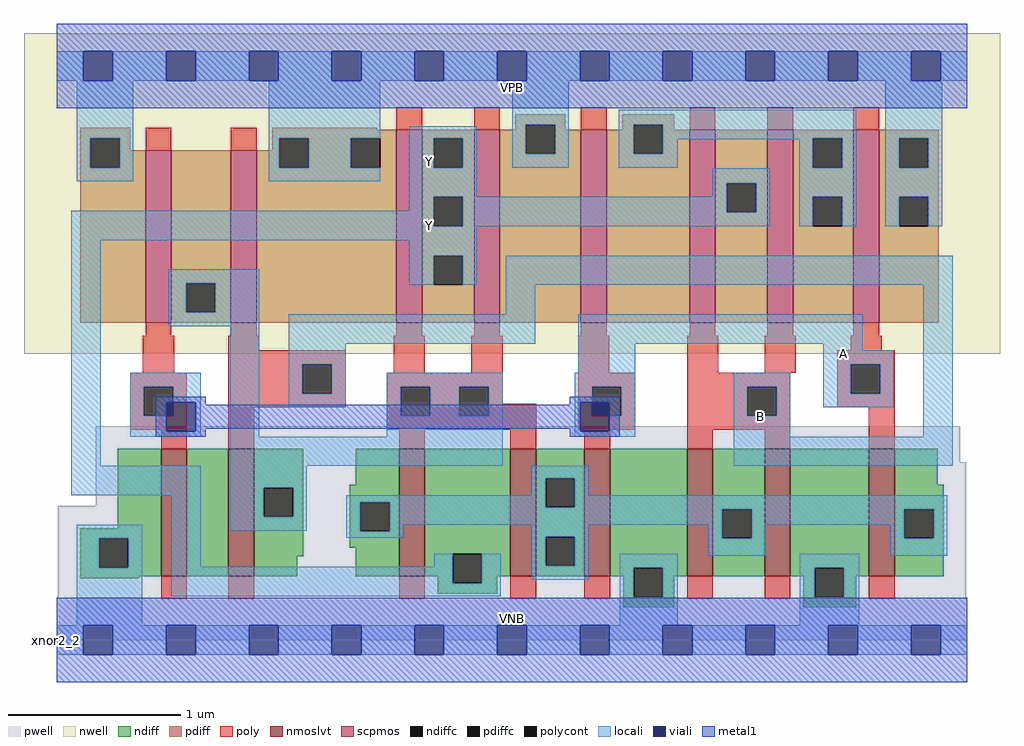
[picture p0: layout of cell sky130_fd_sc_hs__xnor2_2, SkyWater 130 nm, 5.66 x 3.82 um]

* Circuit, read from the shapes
.subckt sky130_fd_sc_hs__xnor2_2 A B VGND VNB VPB VPWR Y
XM1 n1 A VGND VNB sky130_fd_pr__nfet_01v8_lvt w=0.74 l=0.15
XM2 n2 B n1 VNB sky130_fd_pr__nfet_01v8_lvt w=0.74 l=0.15
XM3 Y n2 n3 VNB sky130_fd_pr__nfet_01v8_lvt w=0.74 l=0.15 m=2
XM4 VGND A n3 VNB sky130_fd_pr__nfet_01v8_lvt w=0.74 l=0.15 m=2
XM5 n3 B VGND VNB sky130_fd_pr__nfet_01v8_lvt w=0.74 l=0.15 m=2
XM6 n2 A VPWR VPB sky130_fd_pr__pfet_01v8 w=1 l=0.15
XM7 VPWR B n2 VPB sky130_fd_pr__pfet_01v8 w=1 l=0.15
XM8 Y n2 VPWR VPB sky130_fd_pr__pfet_01v8 w=1.12 l=0.15 m=2
XM9 n4 A VPWR VPB sky130_fd_pr__pfet_01v8 w=1.12 l=0.15 m=2
XM10 Y B n4 VPB sky130_fd_pr__pfet_01v8 w=1.12 l=0.15 m=2
.ends

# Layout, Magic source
magic
tech sky130A
magscale 1 2
<< nwell >>
rect -38 332 1094 704
<< pwell >>
rect 45 206 1048 248
rect 45 156 1055 206
rect 1 49 1055 156
rect 0 0 1056 49
<< scpmos >>
rect 103 368 133 568
rect 202 368 232 568
rect 394 368 424 592
rect 484 368 514 592
rect 608 368 638 592
rect 734 368 764 592
rect 824 368 854 592
rect 924 368 954 592
<< nmoslvt >>
rect 121 74 151 222
rect 199 74 229 222
rect 397 74 427 222
rect 526 74 556 222
rect 612 74 642 222
rect 731 74 761 222
rect 821 74 851 222
rect 942 74 972 222
<< ndiff >>
rect 71 130 121 222
rect 27 118 121 130
rect 27 84 49 118
rect 83 84 121 118
rect 27 74 121 84
rect 151 74 199 222
rect 229 177 286 222
rect 347 180 397 222
rect 229 143 240 177
rect 274 143 286 177
rect 229 97 286 143
rect 340 160 397 180
rect 340 126 352 160
rect 386 126 397 160
rect 340 107 397 126
rect 229 74 279 97
rect 347 74 397 107
rect 427 100 526 222
rect 427 74 459 100
rect 27 72 95 74
rect 442 66 459 74
rect 493 74 526 100
rect 556 188 612 222
rect 556 154 567 188
rect 601 154 612 188
rect 556 120 612 154
rect 556 86 567 120
rect 601 86 612 120
rect 556 74 612 86
rect 642 84 731 222
rect 642 74 669 84
rect 493 66 511 74
rect 442 54 511 66
rect 657 50 669 74
rect 703 74 731 84
rect 761 152 821 222
rect 761 118 772 152
rect 806 118 821 152
rect 761 74 821 118
rect 851 84 942 222
rect 851 74 879 84
rect 703 50 716 74
rect 657 38 716 50
rect 866 50 879 74
rect 913 74 942 84
rect 972 180 1022 222
rect 972 152 1029 180
rect 972 118 983 152
rect 1017 118 1029 152
rect 972 74 1029 118
rect 913 50 927 74
rect 866 38 927 50
<< pdiff >>
rect 27 582 85 594
rect 27 548 39 582
rect 73 568 85 582
rect 250 592 371 594
rect 532 598 590 610
rect 532 592 544 598
rect 250 582 394 592
rect 250 568 258 582
rect 73 548 103 568
rect 27 368 103 548
rect 133 414 202 568
rect 133 380 150 414
rect 184 380 202 414
rect 133 368 202 380
rect 232 548 258 568
rect 292 548 341 582
rect 375 548 394 582
rect 232 368 394 548
rect 424 582 484 592
rect 424 548 437 582
rect 471 548 484 582
rect 424 514 484 548
rect 424 480 437 514
rect 471 480 484 514
rect 424 446 484 480
rect 424 412 437 446
rect 471 412 484 446
rect 424 368 484 412
rect 514 564 544 592
rect 578 592 590 598
rect 656 598 716 610
rect 656 592 669 598
rect 578 564 608 592
rect 514 368 608 564
rect 638 564 669 592
rect 703 592 716 598
rect 703 564 734 592
rect 638 368 734 564
rect 764 530 824 592
rect 764 496 777 530
rect 811 496 824 530
rect 764 368 824 496
rect 854 582 924 592
rect 854 548 877 582
rect 911 548 924 582
rect 854 514 924 548
rect 854 480 877 514
rect 911 480 924 514
rect 854 368 924 480
rect 954 582 1023 592
rect 954 548 977 582
rect 1011 548 1023 582
rect 954 514 1023 548
rect 954 480 977 514
rect 1011 480 1023 514
rect 954 368 1023 480
<< ndiffc >>
rect 49 84 83 118
rect 240 143 274 177
rect 352 126 386 160
rect 459 66 493 100
rect 567 154 601 188
rect 567 86 601 120
rect 669 50 703 84
rect 772 118 806 152
rect 879 50 913 84
rect 983 118 1017 152
<< pdiffc >>
rect 39 548 73 582
rect 150 380 184 414
rect 258 548 292 582
rect 341 548 375 582
rect 437 548 471 582
rect 437 480 471 514
rect 437 412 471 446
rect 544 564 578 598
rect 669 564 703 598
rect 777 496 811 530
rect 877 548 911 582
rect 877 480 911 514
rect 977 548 1011 582
rect 977 480 1011 514
<< poly >>
rect 103 568 133 594
rect 202 568 232 594
rect 394 592 424 618
rect 484 592 514 618
rect 608 592 638 618
rect 734 592 764 618
rect 824 592 854 618
rect 924 592 954 618
rect 103 353 133 368
rect 202 353 232 368
rect 394 353 424 368
rect 484 353 514 368
rect 608 353 638 368
rect 734 353 764 368
rect 824 353 854 368
rect 924 353 954 368
rect 100 310 136 353
rect 199 336 235 353
rect 199 320 335 336
rect 85 294 151 310
rect 85 260 101 294
rect 135 260 151 294
rect 85 244 151 260
rect 121 222 151 244
rect 199 286 285 320
rect 319 286 335 320
rect 391 310 427 353
rect 481 310 517 353
rect 199 270 335 286
rect 383 294 517 310
rect 199 222 229 270
rect 383 260 399 294
rect 433 260 467 294
rect 501 274 517 294
rect 605 310 641 353
rect 731 310 767 353
rect 821 310 857 353
rect 921 336 957 353
rect 905 320 972 336
rect 605 294 671 310
rect 501 260 556 274
rect 383 244 556 260
rect 605 260 621 294
rect 655 260 671 294
rect 605 244 671 260
rect 731 294 851 310
rect 731 260 801 294
rect 835 260 851 294
rect 905 286 921 320
rect 955 286 972 320
rect 905 270 972 286
rect 731 244 851 260
rect 397 222 427 244
rect 526 222 556 244
rect 612 222 642 244
rect 731 222 761 244
rect 821 222 851 244
rect 942 222 972 270
rect 121 48 151 74
rect 199 48 229 74
rect 397 48 427 74
rect 526 48 556 74
rect 612 48 642 74
rect 731 48 761 74
rect 821 48 851 74
rect 942 48 972 74
<< polycont >>
rect 101 260 135 294
rect 285 286 319 320
rect 399 260 433 294
rect 467 260 501 294
rect 621 260 655 294
rect 801 260 835 294
rect 921 286 955 320
<< locali >>
rect 0 649 31 683
rect 65 649 127 683
rect 161 649 223 683
rect 257 649 319 683
rect 353 649 415 683
rect 449 649 511 683
rect 545 649 607 683
rect 641 649 703 683
rect 737 649 799 683
rect 833 649 895 683
rect 929 649 991 683
rect 1025 649 1056 683
rect 23 582 89 649
rect 23 548 39 582
rect 73 548 89 582
rect 23 532 89 548
rect 246 582 375 649
rect 528 598 594 649
rect 246 548 258 582
rect 292 548 341 582
rect 246 532 375 548
rect 409 582 487 596
rect 409 548 437 582
rect 471 548 487 582
rect 528 564 544 598
rect 578 564 594 598
rect 528 548 594 564
rect 652 598 927 615
rect 652 564 669 598
rect 703 582 927 598
rect 703 581 877 582
rect 703 564 720 581
rect 652 548 720 564
rect 861 548 877 581
rect 911 548 927 582
rect 409 514 487 548
rect 761 530 827 547
rect 761 514 777 530
rect 409 498 437 514
rect 17 480 437 498
rect 471 496 777 514
rect 811 496 827 530
rect 471 480 827 496
rect 861 514 927 548
rect 861 480 877 514
rect 911 480 927 514
rect 961 582 1027 649
rect 961 548 977 582
rect 1011 548 1027 582
rect 961 514 1027 548
rect 961 480 977 514
rect 1011 480 1027 514
rect 17 464 487 480
rect 17 202 51 464
rect 409 446 487 464
rect 130 414 235 430
rect 130 380 150 414
rect 184 380 235 414
rect 409 412 437 446
rect 471 412 487 446
rect 521 412 1039 446
rect 130 364 235 380
rect 521 378 555 412
rect 85 294 167 310
rect 85 260 101 294
rect 135 276 167 294
rect 85 242 127 260
rect 161 242 167 276
rect 85 236 167 242
rect 201 236 235 364
rect 269 344 555 378
rect 605 344 935 378
rect 269 320 335 344
rect 269 286 285 320
rect 319 286 335 320
rect 605 310 671 344
rect 889 336 935 344
rect 889 320 971 336
rect 269 270 335 286
rect 383 294 517 310
rect 383 260 399 294
rect 433 260 467 294
rect 501 260 517 294
rect 383 236 517 260
rect 601 294 671 310
rect 601 276 621 294
rect 601 242 607 276
rect 655 260 671 294
rect 641 242 671 260
rect 601 236 671 242
rect 785 294 851 310
rect 785 260 801 294
rect 835 260 851 294
rect 889 286 921 320
rect 955 286 971 320
rect 889 270 971 286
rect 785 236 851 260
rect 1005 236 1039 412
rect 201 202 517 236
rect 785 202 1039 236
rect 17 168 167 202
rect 23 118 99 134
rect 23 84 49 118
rect 83 84 99 118
rect 23 17 99 84
rect 133 85 167 168
rect 201 177 290 202
rect 201 143 240 177
rect 274 143 290 177
rect 551 188 617 202
rect 551 168 567 188
rect 201 127 290 143
rect 336 160 567 168
rect 336 126 352 160
rect 386 154 567 160
rect 601 168 617 188
rect 601 154 1033 168
rect 386 152 1033 154
rect 386 134 772 152
rect 386 126 402 134
rect 336 119 402 126
rect 551 120 617 134
rect 438 85 459 100
rect 133 66 459 85
rect 493 66 515 100
rect 551 86 567 120
rect 601 86 617 120
rect 756 118 772 134
rect 806 134 983 152
rect 806 118 822 134
rect 551 70 617 86
rect 653 84 720 100
rect 756 98 822 118
rect 967 118 983 134
rect 1017 118 1033 152
rect 133 51 515 66
rect 653 50 669 84
rect 703 50 720 84
rect 653 17 720 50
rect 862 84 931 100
rect 967 98 1033 118
rect 862 50 879 84
rect 913 50 931 84
rect 862 17 931 50
rect 0 -17 31 17
rect 65 -17 127 17
rect 161 -17 223 17
rect 257 -17 319 17
rect 353 -17 415 17
rect 449 -17 511 17
rect 545 -17 607 17
rect 641 -17 703 17
rect 737 -17 799 17
rect 833 -17 895 17
rect 929 -17 991 17
rect 1025 -17 1056 17
<< viali >>
rect 31 649 65 683
rect 127 649 161 683
rect 223 649 257 683
rect 319 649 353 683
rect 415 649 449 683
rect 511 649 545 683
rect 607 649 641 683
rect 703 649 737 683
rect 799 649 833 683
rect 895 649 929 683
rect 991 649 1025 683
rect 127 260 135 276
rect 135 260 161 276
rect 127 242 161 260
rect 607 260 621 276
rect 621 260 641 276
rect 607 242 641 260
rect 31 -17 65 17
rect 127 -17 161 17
rect 223 -17 257 17
rect 319 -17 353 17
rect 415 -17 449 17
rect 511 -17 545 17
rect 607 -17 641 17
rect 703 -17 737 17
rect 799 -17 833 17
rect 895 -17 929 17
rect 991 -17 1025 17
<< metal1 >>
rect 0 683 1056 715
rect 0 649 31 683
rect 65 649 127 683
rect 161 649 223 683
rect 257 649 319 683
rect 353 649 415 683
rect 449 649 511 683
rect 545 649 607 683
rect 641 649 703 683
rect 737 649 799 683
rect 833 649 895 683
rect 929 649 991 683
rect 1025 649 1056 683
rect 0 617 1056 649
rect 115 276 173 282
rect 115 242 127 276
rect 161 273 173 276
rect 595 276 653 282
rect 595 273 607 276
rect 161 245 607 273
rect 161 242 173 245
rect 115 236 173 242
rect 595 242 607 245
rect 641 242 653 276
rect 595 236 653 242
rect 0 17 1056 49
rect 0 -17 31 17
rect 65 -17 127 17
rect 161 -17 223 17
rect 257 -17 319 17
rect 353 -17 415 17
rect 449 -17 511 17
rect 545 -17 607 17
rect 641 -17 703 17
rect 737 -17 799 17
rect 833 -17 895 17
rect 929 -17 991 17
rect 1025 -17 1056 17
rect 0 -49 1056 -17
<< labels >>
rlabel comment s 0 0 0 0 4 xnor2_2
flabel pwell s 0 0 1056 49 0 FreeSans 200 0 0 0 VNB
port 4 nsew ground bidirectional
flabel nwell s 0 617 1056 666 0 FreeSans 200 0 0 0 VPB
port 5 nsew power bidirectional
flabel metal1 s 0 617 1056 666 0 FreeSans 340 0 0 0 VPWR
port 6 nsew power bidirectional
flabel metal1 s 0 0 1056 49 0 FreeSans 340 0 0 0 VGND
port 3 nsew ground bidirectional
flabel locali s 415 464 449 498 0 FreeSans 340 0 0 0 Y
port 7 nsew signal output
flabel locali s 415 538 449 572 0 FreeSans 340 0 0 0 Y
port 7 nsew signal output
flabel locali s 799 242 833 276 0 FreeSans 340 0 0 0 B
port 2 nsew signal input
flabel locali s 895 316 929 350 0 FreeSans 340 0 0 0 A
port 1 nsew signal input
<< properties >>
string LEFsite unit
string LEFclass CORE
string FIXED_BBOX 0 0 1056 666
string GDS_FILE $PDKPATH/libs.ref/sky130_fd_sc_hs/gds/sky130_fd_sc_hs.gds
string LEFsymmetry X Y
string GDS_END 2481082
string GDS_START 2472788
<< end >>
